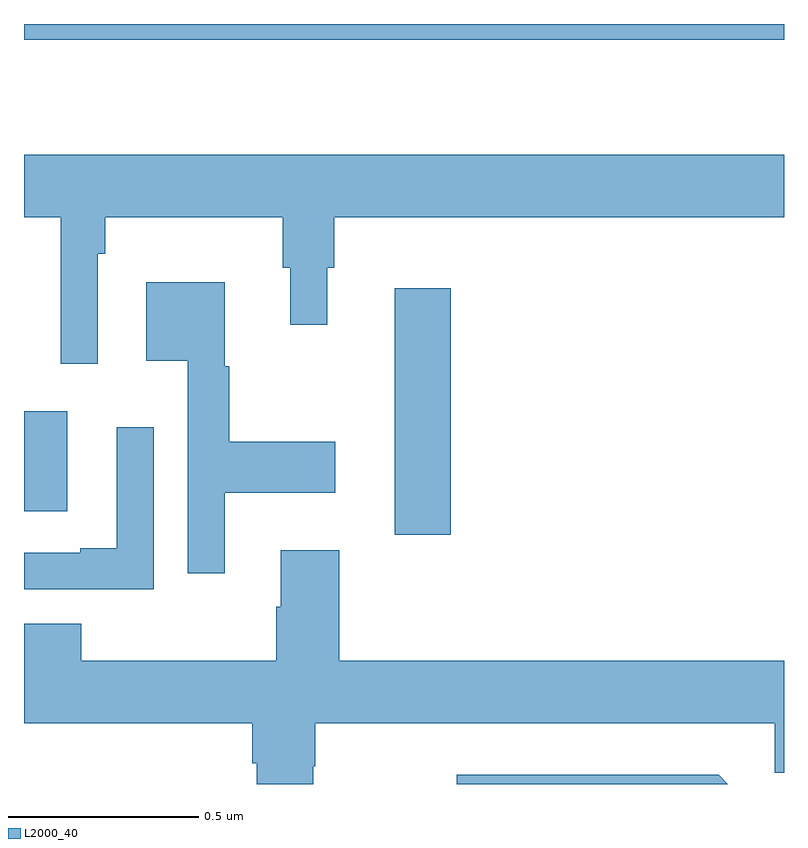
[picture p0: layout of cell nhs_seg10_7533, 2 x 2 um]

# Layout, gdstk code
import gdstk
lib = gdstk.Library(unit=1e-6, precision=1e-09)
def R(c, l, rs):  # rectangles x0, y0, x1, y1
    for r in rs: c.add(gdstk.rectangle(r[:2], r[2:], *l))
def P(c, l, *ps):  # polygons
    for p in ps: c.add(gdstk.Polygon(p, *l))
L2000_40 = (2000, 40)

nhs_seg10_7533 = lib.new_cell('nhs_seg10_7533')
R(nhs_seg10_7533, L2000_40, [(205.976,1290.156,206.123,1290.805), (205,1290.218,205.114,1290.481), (205,1291.458,207,1291.5)])
P(nhs_seg10_7533, L2000_40, [(205.194,1290.896),(205.214,1290.896),(205.214,1290.992),(205.681,1290.992),(205.681,1290.858),(205.7,1290.858),(205.7,1290.708),(205.798,1290.708),(205.798,1290.858),(205.817,1290.858),(205.817,1290.992),(207,1290.992),(207,1291.156),(205,1291.156),(205,1290.992),(205.097,1290.992),(205.097,1290.606),(205.194,1290.606)],
  [(205.528,1290.266),(205.819,1290.266),(205.819,1290.401),(205.54,1290.401),(205.54,1290.6),(205.528,1290.6),(205.528,1290.82),(205.322,1290.82),(205.322,1290.614),(205.431,1290.614),(205.431,1290.054),(205.528,1290.054)],
  [(205.341,1290.439),(205.244,1290.439),(205.244,1290.121),(205.148,1290.121),(205.148,1290.108),(205,1290.108),(205,1290.012),(205.341,1290.012)],
  [(205.761,1289.547),(205.766,1289.547),(205.766,1289.66),(206.976,1289.66),(206.976,1289.529),(207,1289.529),(207,1289.824),(205.829,1289.824),(205.829,1290.115),(205.676,1290.115),(205.676,1289.966),(205.664,1289.966),(205.664,1289.824),(205.151,1289.824),(205.151,1289.922),(205,1289.922),(205,1289.66),(205.601,1289.66),(205.601,1289.554),(205.613,1289.554),(205.613,1289.5),(205.761,1289.5)],
  [(206.828,1289.524),(206.139,1289.524),(206.139,1289.5),(206.852,1289.5)])

lib.write_gds('nhs_seg10_7533.gds')
